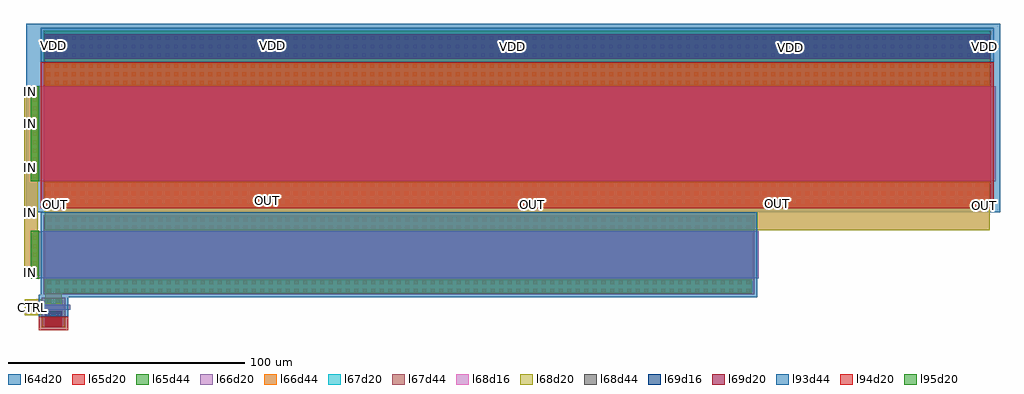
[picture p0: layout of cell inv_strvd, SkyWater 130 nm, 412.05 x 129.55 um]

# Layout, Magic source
magic
tech sky130a
<< l67d44 >>
rect 150 10753 320 10923
rect 150 11113 320 11283
rect 150 11473 320 11643
rect 10230 10753 10400 10923
rect 10590 10753 10760 10923
rect 10950 10753 11120 10923
rect 11310 10753 11480 10923
rect 11670 10753 11840 10923
rect 12030 10753 12200 10923
rect 12390 10753 12560 10923
rect 12750 10753 12920 10923
rect 13110 10753 13280 10923
rect 13470 10753 13640 10923
rect 13830 10753 14000 10923
rect 14190 10753 14360 10923
rect 14550 10753 14720 10923
rect 14910 10753 15080 10923
rect 15270 10753 15440 10923
rect 15630 10753 15800 10923
rect 15990 10753 16160 10923
rect 16350 10753 16520 10923
rect 16710 10753 16880 10923
rect 17070 10753 17240 10923
rect 17430 10753 17600 10923
rect 17790 10753 17960 10923
rect 18150 10753 18320 10923
rect 18510 10753 18680 10923
rect 18870 10753 19040 10923
rect 19230 10753 19400 10923
rect 19590 10753 19760 10923
rect 19950 10753 20120 10923
rect 10230 11113 10400 11283
rect 10590 11113 10760 11283
rect 10950 11113 11120 11283
rect 11310 11113 11480 11283
rect 11670 11113 11840 11283
rect 12030 11113 12200 11283
rect 12390 11113 12560 11283
rect 12750 11113 12920 11283
rect 13110 11113 13280 11283
rect 13470 11113 13640 11283
rect 13830 11113 14000 11283
rect 14190 11113 14360 11283
rect 14550 11113 14720 11283
rect 14910 11113 15080 11283
rect 15270 11113 15440 11283
rect 15630 11113 15800 11283
rect 15990 11113 16160 11283
rect 16350 11113 16520 11283
rect 16710 11113 16880 11283
rect 17070 11113 17240 11283
rect 17430 11113 17600 11283
rect 17790 11113 17960 11283
rect 18150 11113 18320 11283
rect 18510 11113 18680 11283
rect 18870 11113 19040 11283
rect 19230 11113 19400 11283
rect 19590 11113 19760 11283
rect 19950 11113 20120 11283
rect 10230 11473 10400 11643
rect 10590 11473 10760 11643
rect 10950 11473 11120 11643
rect 11310 11473 11480 11643
rect 11670 11473 11840 11643
rect 12030 11473 12200 11643
rect 12390 11473 12560 11643
rect 12750 11473 12920 11643
rect 13110 11473 13280 11643
rect 13470 11473 13640 11643
rect 13830 11473 14000 11643
rect 14190 11473 14360 11643
rect 14550 11473 14720 11643
rect 14910 11473 15080 11643
rect 15270 11473 15440 11643
rect 15630 11473 15800 11643
rect 15990 11473 16160 11643
rect 16350 11473 16520 11643
rect 16710 11473 16880 11643
rect 17070 11473 17240 11643
rect 17430 11473 17600 11643
rect 17790 11473 17960 11643
rect 18150 11473 18320 11643
rect 18510 11473 18680 11643
rect 18870 11473 19040 11643
rect 19230 11473 19400 11643
rect 19590 11473 19760 11643
rect 19950 11473 20120 11643
rect 3390 10753 3560 10923
rect 3750 10753 3920 10923
rect 4110 10753 4280 10923
rect 4470 10753 4640 10923
rect 4830 10753 5000 10923
rect 5190 10753 5360 10923
rect 5550 10753 5720 10923
rect 5910 10753 6080 10923
rect 6270 10753 6440 10923
rect 6630 10753 6800 10923
rect 6990 10753 7160 10923
rect 7350 10753 7520 10923
rect 7710 10753 7880 10923
rect 8070 10753 8240 10923
rect 8430 10753 8600 10923
rect 8790 10753 8960 10923
rect 9150 10753 9320 10923
rect 9510 10753 9680 10923
rect 9870 10753 10040 10923
rect 1230 10753 1400 10923
rect 1590 10753 1760 10923
rect 1950 10753 2120 10923
rect 510 10753 680 10923
rect 510 11113 680 11283
rect 870 11113 1040 11283
rect 870 10753 1040 10923
rect 510 11473 680 11643
rect 870 11473 1040 11643
rect 1230 11473 1400 11643
rect 1590 11473 1760 11643
rect 1950 11473 2120 11643
rect 2310 11473 2480 11643
rect 2670 11473 2840 11643
rect 3030 11473 3200 11643
rect 3390 11473 3560 11643
rect 3750 11473 3920 11643
rect 4110 11473 4280 11643
rect 4470 11473 4640 11643
rect 4830 11473 5000 11643
rect 5190 11473 5360 11643
rect 5550 11473 5720 11643
rect 5910 11473 6080 11643
rect 6270 11473 6440 11643
rect 6630 11473 6800 11643
rect 6990 11473 7160 11643
rect 7350 11473 7520 11643
rect 7710 11473 7880 11643
rect 8070 11473 8240 11643
rect 8430 11473 8600 11643
rect 8790 11473 8960 11643
rect 9150 11473 9320 11643
rect 9510 11473 9680 11643
rect 9870 11473 10040 11643
rect 1230 11113 1400 11283
rect 1590 11113 1760 11283
rect 1950 11113 2120 11283
rect 2310 11113 2480 11283
rect 2670 11113 2840 11283
rect 3030 11113 3200 11283
rect 3390 11113 3560 11283
rect 3750 11113 3920 11283
rect 4110 11113 4280 11283
rect 4470 11113 4640 11283
rect 4830 11113 5000 11283
rect 5190 11113 5360 11283
rect 5550 11113 5720 11283
rect 5910 11113 6080 11283
rect 6270 11113 6440 11283
rect 6630 11113 6800 11283
rect 6990 11113 7160 11283
rect 7350 11113 7520 11283
rect 7710 11113 7880 11283
rect 8070 11113 8240 11283
rect 8430 11113 8600 11283
rect 8790 11113 8960 11283
rect 9150 11113 9320 11283
rect 9510 11113 9680 11283
rect 9870 11113 10040 11283
rect 2310 10753 2480 10923
rect 2670 10753 2840 10923
rect 3030 10753 3200 10923
rect -9570 11113 -9400 11283
rect -9210 11113 -9040 11283
rect -8850 11113 -8680 11283
rect -8490 11113 -8320 11283
rect -8130 11113 -7960 11283
rect -7770 11113 -7600 11283
rect -7410 11113 -7240 11283
rect -7050 11113 -6880 11283
rect -6690 11113 -6520 11283
rect -6330 11113 -6160 11283
rect -5970 11113 -5800 11283
rect -5610 11113 -5440 11283
rect -5250 11113 -5080 11283
rect -4890 11113 -4720 11283
rect -4530 11113 -4360 11283
rect -4170 11113 -4000 11283
rect -3810 11113 -3640 11283
rect -3450 11113 -3280 11283
rect -3090 11113 -2920 11283
rect -2730 11113 -2560 11283
rect -2370 11113 -2200 11283
rect -2010 11113 -1840 11283
rect -1650 11113 -1480 11283
rect -1290 11113 -1120 11283
rect -930 11113 -760 11283
rect -570 11113 -400 11283
rect -210 11113 -40 11283
rect -9570 10753 -9400 10923
rect -9210 10753 -9040 10923
rect -8850 10753 -8680 10923
rect -8490 10753 -8320 10923
rect -8130 10753 -7960 10923
rect -7770 10753 -7600 10923
rect -7410 10753 -7240 10923
rect -7050 10753 -6880 10923
rect -6690 10753 -6520 10923
rect -6330 10753 -6160 10923
rect -5970 10753 -5800 10923
rect -5610 10753 -5440 10923
rect -5250 10753 -5080 10923
rect -4890 10753 -4720 10923
rect -4530 10753 -4360 10923
rect -4170 10753 -4000 10923
rect -3810 10753 -3640 10923
rect -3450 10753 -3280 10923
rect -3090 10753 -2920 10923
rect -2730 10753 -2560 10923
rect -2370 10753 -2200 10923
rect -2010 10753 -1840 10923
rect -1650 10753 -1480 10923
rect -1290 10753 -1120 10923
rect -930 10753 -760 10923
rect -570 10753 -400 10923
rect -210 10753 -40 10923
rect -9570 11473 -9400 11643
rect -9210 11473 -9040 11643
rect -8850 11473 -8680 11643
rect -8490 11473 -8320 11643
rect -8130 11473 -7960 11643
rect -7770 11473 -7600 11643
rect -7410 11473 -7240 11643
rect -7050 11473 -6880 11643
rect -6690 11473 -6520 11643
rect -6330 11473 -6160 11643
rect -5970 11473 -5800 11643
rect -5610 11473 -5440 11643
rect -5250 11473 -5080 11643
rect -4890 11473 -4720 11643
rect -4530 11473 -4360 11643
rect -4170 11473 -4000 11643
rect -3810 11473 -3640 11643
rect -3450 11473 -3280 11643
rect -3090 11473 -2920 11643
rect -2730 11473 -2560 11643
rect -2370 11473 -2200 11643
rect -2010 11473 -1840 11643
rect -1650 11473 -1480 11643
rect -1290 11473 -1120 11643
rect -930 11473 -760 11643
rect -570 11473 -400 11643
rect -210 11473 -40 11643
rect -17850 11113 -17680 11283
rect -17490 11113 -17320 11283
rect -17130 11113 -16960 11283
rect -16770 11113 -16600 11283
rect -16410 11113 -16240 11283
rect -16050 11113 -15880 11283
rect -15690 11113 -15520 11283
rect -15330 11113 -15160 11283
rect -14970 11113 -14800 11283
rect -14610 11113 -14440 11283
rect -14250 11113 -14080 11283
rect -13890 11113 -13720 11283
rect -13530 11113 -13360 11283
rect -13170 11113 -13000 11283
rect -12810 11113 -12640 11283
rect -12450 11113 -12280 11283
rect -12090 11113 -11920 11283
rect -11730 11113 -11560 11283
rect -11370 11113 -11200 11283
rect -11010 11113 -10840 11283
rect -10650 11113 -10480 11283
rect -10290 11113 -10120 11283
rect -9930 11113 -9760 11283
rect -18930 11113 -18760 11283
rect -18930 10753 -18760 10923
rect -19650 10753 -19480 10923
rect -19290 10753 -19120 10923
rect -19290 11113 -19120 11283
rect -19290 11473 -19120 11643
rect -18930 11473 -18760 11643
rect -18570 11473 -18400 11643
rect -18210 11473 -18040 11643
rect -17850 11473 -17680 11643
rect -17490 11473 -17320 11643
rect -17130 11473 -16960 11643
rect -16770 11473 -16600 11643
rect -16410 11473 -16240 11643
rect -16050 11473 -15880 11643
rect -15690 11473 -15520 11643
rect -15330 11473 -15160 11643
rect -14970 11473 -14800 11643
rect -14610 11473 -14440 11643
rect -14250 11473 -14080 11643
rect -13890 11473 -13720 11643
rect -13530 11473 -13360 11643
rect -13170 11473 -13000 11643
rect -12810 11473 -12640 11643
rect -12450 11473 -12280 11643
rect -12090 11473 -11920 11643
rect -11730 11473 -11560 11643
rect -11370 11473 -11200 11643
rect -11010 11473 -10840 11643
rect -10650 11473 -10480 11643
rect -10290 11473 -10120 11643
rect -9930 11473 -9760 11643
rect -18570 10753 -18400 10923
rect -18210 10753 -18040 10923
rect -17850 10753 -17680 10923
rect -17490 10753 -17320 10923
rect -17130 10753 -16960 10923
rect -16770 10753 -16600 10923
rect -16410 10753 -16240 10923
rect -16050 10753 -15880 10923
rect -15690 10753 -15520 10923
rect -15330 10753 -15160 10923
rect -14970 10753 -14800 10923
rect -14610 10753 -14440 10923
rect -14250 10753 -14080 10923
rect -13890 10753 -13720 10923
rect -13530 10753 -13360 10923
rect -13170 10753 -13000 10923
rect -12810 10753 -12640 10923
rect -12450 10753 -12280 10923
rect -12090 10753 -11920 10923
rect -11730 10753 -11560 10923
rect -11370 10753 -11200 10923
rect -11010 10753 -10840 10923
rect -10650 10753 -10480 10923
rect -10290 10753 -10120 10923
rect -9930 10753 -9760 10923
rect -18570 11113 -18400 11283
rect -18210 11113 -18040 11283
rect -19650 11113 -19480 11283
rect -19650 11473 -19480 11643
rect -19250 -525 -19080 -355
rect -19610 -525 -19440 -355
<< l68d20 >>
rect -20245 3270 -20015 5570
rect -19690 -640 -19000 50
rect -19710 3440 20180 5480
rect -20551 -157 -19871 523
rect -20590 1540 -20015 9460
rect -19710 3440 20180 5480
rect -20590 1540 -20015 9460
rect -19690 320 -19000 1370
rect -19710 10500 20180 11688
rect 20180 10753 20200 11688
rect -19730 10753 -19710 11688
<< l68d16 >>
rect -19710 3440 20180 5480
rect -20590 1540 -20015 9460
rect -20496 -102 -19916 463
<< l68d44 >>
rect 160 10763 310 10913
rect 160 11123 310 11273
rect 160 11483 310 11633
rect 12400 11123 12550 11273
rect 12760 11123 12910 11273
rect 13120 11123 13270 11273
rect 17080 11483 17230 11633
rect 13480 11123 13630 11273
rect 17440 11483 17590 11633
rect 13840 11123 13990 11273
rect 17800 11483 17950 11633
rect 14200 11123 14350 11273
rect 18160 11483 18310 11633
rect 14560 11123 14710 11273
rect 18520 11483 18670 11633
rect 14920 11123 15070 11273
rect 18880 11483 19030 11633
rect 15280 11123 15430 11273
rect 19240 11483 19390 11633
rect 15640 11123 15790 11273
rect 19600 11483 19750 11633
rect 16000 11123 16150 11273
rect 19960 11483 20110 11633
rect 16360 11123 16510 11273
rect 10240 10763 10390 10913
rect 16720 11123 16870 11273
rect 10600 10763 10750 10913
rect 17080 11123 17230 11273
rect 10960 10763 11110 10913
rect 17440 11123 17590 11273
rect 11320 10763 11470 10913
rect 17800 11123 17950 11273
rect 11680 10763 11830 10913
rect 18160 11123 18310 11273
rect 12040 10763 12190 10913
rect 18520 11123 18670 11273
rect 12400 10763 12550 10913
rect 18880 11123 19030 11273
rect 12760 10763 12910 10913
rect 19240 11123 19390 11273
rect 13120 10763 13270 10913
rect 19600 11123 19750 11273
rect 13480 10763 13630 10913
rect 19960 11123 20110 11273
rect 13840 10763 13990 10913
rect 10240 11483 10390 11633
rect 14200 10763 14350 10913
rect 10600 11483 10750 11633
rect 14560 10763 14710 10913
rect 10960 11483 11110 11633
rect 14920 10763 15070 10913
rect 11320 11483 11470 11633
rect 15280 10763 15430 10913
rect 11680 11483 11830 11633
rect 15640 10763 15790 10913
rect 12040 11483 12190 11633
rect 16000 10763 16150 10913
rect 12400 11483 12550 11633
rect 12760 11483 12910 11633
rect 16360 10763 16510 10913
rect 13120 11483 13270 11633
rect 16720 10763 16870 10913
rect 17080 10763 17230 10913
rect 13480 11483 13630 11633
rect 17440 10763 17590 10913
rect 17800 10763 17950 10913
rect 13840 11483 13990 11633
rect 18160 10763 18310 10913
rect 18520 10763 18670 10913
rect 14200 11483 14350 11633
rect 18880 10763 19030 10913
rect 19240 10763 19390 10913
rect 14560 11483 14710 11633
rect 19600 10763 19750 10913
rect 19960 10763 20110 10913
rect 14920 11483 15070 11633
rect 15280 11483 15430 11633
rect 15640 11483 15790 11633
rect 16000 11483 16150 11633
rect 16360 11483 16510 11633
rect 16720 11483 16870 11633
rect 10240 11123 10390 11273
rect 10600 11123 10750 11273
rect 10960 11123 11110 11273
rect 11320 11123 11470 11273
rect 11680 11123 11830 11273
rect 12040 11123 12190 11273
rect 2320 11123 2470 11273
rect 2680 11123 2830 11273
rect 3040 11123 3190 11273
rect 3400 11123 3550 11273
rect 3760 11123 3910 11273
rect 4120 11123 4270 11273
rect 4480 11123 4630 11273
rect 4840 11123 4990 11273
rect 5200 11123 5350 11273
rect 1240 11123 1390 11273
rect 1600 11123 1750 11273
rect 1960 11123 2110 11273
rect 9880 10763 10030 10913
rect 9880 11483 10030 11633
rect 880 11483 1030 11633
rect 3040 11483 3190 11633
rect 3400 11483 3550 11633
rect 1240 11483 1390 11633
rect 3760 11483 3910 11633
rect 4120 11483 4270 11633
rect 1600 11483 1750 11633
rect 4480 11483 4630 11633
rect 4840 11483 4990 11633
rect 1960 11483 2110 11633
rect 5200 11483 5350 11633
rect 5560 11483 5710 11633
rect 2320 11483 2470 11633
rect 5920 11483 6070 11633
rect 6280 11483 6430 11633
rect 2680 11483 2830 11633
rect 5920 11123 6070 11273
rect 520 10763 670 10913
rect 880 10763 1030 10913
rect 1240 10763 1390 10913
rect 1600 10763 1750 10913
rect 1960 10763 2110 10913
rect 2320 10763 2470 10913
rect 2680 10763 2830 10913
rect 3040 10763 3190 10913
rect 3400 10763 3550 10913
rect 3760 10763 3910 10913
rect 4120 10763 4270 10913
rect 4480 10763 4630 10913
rect 4840 10763 4990 10913
rect 5200 10763 5350 10913
rect 5560 10763 5710 10913
rect 5920 10763 6070 10913
rect 6280 10763 6430 10913
rect 6640 10763 6790 10913
rect 7000 10763 7150 10913
rect 7360 10763 7510 10913
rect 7720 10763 7870 10913
rect 8080 10763 8230 10913
rect 8440 10763 8590 10913
rect 8800 10763 8950 10913
rect 9160 10763 9310 10913
rect 9520 10763 9670 10913
rect 6280 11123 6430 11273
rect 6640 11483 6790 11633
rect 7000 11483 7150 11633
rect 7360 11483 7510 11633
rect 7720 11483 7870 11633
rect 8080 11483 8230 11633
rect 8440 11483 8590 11633
rect 8800 11483 8950 11633
rect 9160 11483 9310 11633
rect 9520 11483 9670 11633
rect 520 11123 670 11273
rect 9520 11123 9670 11273
rect 880 11123 1030 11273
rect 6640 11123 6790 11273
rect 7000 11123 7150 11273
rect 7360 11123 7510 11273
rect 7720 11123 7870 11273
rect 8080 11123 8230 11273
rect 8440 11123 8590 11273
rect 8800 11123 8950 11273
rect 9160 11123 9310 11273
rect 5560 11123 5710 11273
rect 520 11483 670 11633
rect 9880 11123 10030 11273
rect -200 11123 -50 11273
rect -200 10763 -50 10913
rect -200 11483 -50 11633
rect -7400 11483 -7250 11633
rect -7040 11483 -6890 11633
rect -6680 11483 -6530 11633
rect -6320 11483 -6170 11633
rect -5960 11483 -5810 11633
rect -5600 11483 -5450 11633
rect -5240 11483 -5090 11633
rect -4880 11483 -4730 11633
rect -4520 11483 -4370 11633
rect -4160 11483 -4010 11633
rect -3800 11483 -3650 11633
rect -3440 11483 -3290 11633
rect -3080 11483 -2930 11633
rect -2720 11483 -2570 11633
rect -2360 11483 -2210 11633
rect -2000 11483 -1850 11633
rect -1640 11483 -1490 11633
rect -1280 11483 -1130 11633
rect -920 11483 -770 11633
rect -560 11483 -410 11633
rect -9200 10763 -9050 10913
rect -9560 11123 -9410 11273
rect -9200 11123 -9050 11273
rect -8840 11123 -8690 11273
rect -8480 11123 -8330 11273
rect -8120 11123 -7970 11273
rect -7760 11123 -7610 11273
rect -7400 11123 -7250 11273
rect -7040 11123 -6890 11273
rect -6680 11123 -6530 11273
rect -6320 11123 -6170 11273
rect -5960 11123 -5810 11273
rect -5600 11123 -5450 11273
rect -5240 11123 -5090 11273
rect -4880 11123 -4730 11273
rect -4520 11123 -4370 11273
rect -4160 11123 -4010 11273
rect -3800 11123 -3650 11273
rect -3440 11123 -3290 11273
rect -3080 11123 -2930 11273
rect -2720 11123 -2570 11273
rect -2360 11123 -2210 11273
rect -2000 11123 -1850 11273
rect -1640 11123 -1490 11273
rect -1280 11123 -1130 11273
rect -920 11123 -770 11273
rect -560 11123 -410 11273
rect -8840 10763 -8690 10913
rect -8480 10763 -8330 10913
rect -8120 10763 -7970 10913
rect -7760 10763 -7610 10913
rect -7400 10763 -7250 10913
rect -7040 10763 -6890 10913
rect -6680 10763 -6530 10913
rect -6320 10763 -6170 10913
rect -5960 10763 -5810 10913
rect -5600 10763 -5450 10913
rect -5240 10763 -5090 10913
rect -4880 10763 -4730 10913
rect -4520 10763 -4370 10913
rect -4160 10763 -4010 10913
rect -3800 10763 -3650 10913
rect -3440 10763 -3290 10913
rect -3080 10763 -2930 10913
rect -2720 10763 -2570 10913
rect -2360 10763 -2210 10913
rect -2000 10763 -1850 10913
rect -9560 11483 -9410 11633
rect -1640 10763 -1490 10913
rect -9200 11483 -9050 11633
rect -1280 10763 -1130 10913
rect -8840 11483 -8690 11633
rect -920 10763 -770 10913
rect -8480 11483 -8330 11633
rect -560 10763 -410 10913
rect -8120 11483 -7970 11633
rect -9560 10763 -9410 10913
rect -7760 11483 -7610 11633
rect -10280 10763 -10130 10913
rect -10280 11123 -10130 11273
rect -9920 10763 -9770 10913
rect -9920 11483 -9770 11633
rect -9920 11123 -9770 11273
rect -10280 11483 -10130 11633
rect -18560 11483 -18410 11633
rect -18920 10763 -18770 10913
rect -17120 11123 -16970 11273
rect -13520 11483 -13370 11633
rect -16760 11123 -16610 11273
rect -19280 11123 -19130 11273
rect -10640 10763 -10490 10913
rect -16400 11123 -16250 11273
rect -13160 11483 -13010 11633
rect -18560 10763 -18410 10913
rect -16040 11123 -15890 11273
rect -15320 10763 -15170 10913
rect -18200 11483 -18050 11633
rect -15680 11483 -15530 11633
rect -12800 10763 -12650 10913
rect -15680 11123 -15530 11273
rect -14600 10763 -14450 10913
rect -18200 10763 -18050 10913
rect -12800 11483 -12650 11633
rect -13520 10763 -13370 10913
rect -15320 11123 -15170 11273
rect -11720 10763 -11570 10913
rect -16760 11483 -16610 11633
rect -10640 11123 -10490 11273
rect -18920 11123 -18770 11273
rect -17840 10763 -17690 10913
rect -14960 11123 -14810 11273
rect -19640 11123 -19490 11273
rect -13880 11483 -13730 11633
rect -19640 11483 -19490 11633
rect -12440 11483 -12290 11633
rect -17120 11483 -16970 11633
rect -14600 11123 -14450 11273
rect -18200 11123 -18050 11273
rect -17840 11483 -17690 11633
rect -18560 11123 -18410 11273
rect -14240 11123 -14090 11273
rect -13160 10763 -13010 10913
rect -11000 11483 -10850 11633
rect -12080 11483 -11930 11633
rect -15320 11483 -15170 11633
rect -18920 11483 -18770 11633
rect -16400 11483 -16250 11633
rect -13880 11123 -13730 11273
rect -17480 10763 -17330 10913
rect -17480 11123 -17330 11273
rect -14240 10763 -14090 10913
rect -11360 11123 -11210 11273
rect -19280 11483 -19130 11633
rect -19640 10763 -19490 10913
rect -14960 10763 -14810 10913
rect -13520 11123 -13370 11273
rect -17120 10763 -16970 10913
rect -12080 11123 -11930 11273
rect -11000 10763 -10850 10913
rect -11720 11483 -11570 11633
rect -14960 11483 -14810 11633
rect -12080 10763 -11930 10913
rect -10640 11483 -10490 11633
rect -13160 11123 -13010 11273
rect -16760 10763 -16610 10913
rect -15680 10763 -15530 10913
rect -11720 11123 -11570 11273
rect -17480 11483 -17330 11633
rect -11360 10763 -11210 10913
rect -19280 10763 -19130 10913
rect -13880 10763 -13730 10913
rect -12800 11123 -12650 11273
rect -16400 10763 -16250 10913
rect -12440 10763 -12290 10913
rect -14240 11483 -14090 11633
rect -11360 11483 -11210 11633
rect -14600 11483 -14450 11633
rect -16040 11483 -15890 11633
rect -11000 11123 -10850 11273
rect -12440 11123 -12290 11273
rect -16040 10763 -15890 10913
rect -17840 11123 -17690 11273
rect -19235 -185 -19085 -35
rect -19605 -555 -19455 -405
rect -19235 -555 -19085 -405
rect -19605 -185 -19455 -35
<< l69d20 >>
rect -19690 -640 -19000 50
rect -19725 10678 20195 11718
<< l69d16 >>
rect -19690 -640 -19000 50
rect -19725 10678 20195 11718
<< labels >>
rlabel l68d5 -20211 188 -20211 188 0 CTRL
rlabel l68d5 19980 4475 19980 4475 0 OUT
rlabel l68d5 -19260 4545 -19260 4545 0 OUT
rlabel l68d5 890 4535 890 4535 0 OUT
rlabel l68d5 11225 4570 11225 4570 0 OUT
rlabel l68d5 -10320 4715 -10320 4715 0 OUT
rlabel l68d5 -20310 9300 -20310 9300 0 IN
rlabel l68d5 -20315 1665 -20315 1665 0 IN
rlabel l68d5 -20310 6100 -20310 6100 0 IN
rlabel l68d5 -20310 7935 -20310 7935 0 IN
rlabel l68d5 -20300 4170 -20300 4170 0 IN
rlabel l69d5 -19355 -235 -19355 -235 0 VSS
rlabel l69d5 -19365 11230 -19365 11230 0 VDD
rlabel l69d5 19970 11215 19970 11215 0 VDD
rlabel l69d5 45 11185 45 11185 0 VDD
rlabel l69d5 11760 11145 11760 11145 0 VDD
rlabel l69d5 -10080 11250 -10080 11250 0 VDD
use nfetx2410 nfetx2410_1
transform 0 -1 10235 1 0 745
box -125 -200 3445 30540
use pfetx246 pfetx246_1
transform 0 -1 20235 1 0 4495
box -305 -380 7671 40720
use nfet nfet_1
transform 0 -1 -18845 -1 0 585
box -125 -200 1374 1540
<< end >>

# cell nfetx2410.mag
magic
tech sky130a
<< l66d20 >>
rect 660 -200 2660 30200
rect 660 30200 2660 30530
<< l66d44 >>
rect 65 15275 235 15445
rect 425 15275 595 15445
rect 2725 15275 2895 15445
rect 3085 15275 3255 15445
rect 65 22835 235 23005
rect 425 22835 595 23005
rect 2725 22835 2895 23005
rect 3085 22835 3255 23005
rect 65 24275 235 24445
rect 65 24635 235 24805
rect 65 24995 235 25165
rect 65 25355 235 25525
rect 65 25715 235 25885
rect 65 26075 235 26245
rect 65 26435 235 26605
rect 65 26795 235 26965
rect 65 27155 235 27325
rect 65 27515 235 27685
rect 65 27875 235 28045
rect 65 28235 235 28405
rect 65 28595 235 28765
rect 65 28955 235 29125
rect 65 29315 235 29485
rect 65 29675 235 29845
rect 65 23195 235 23365
rect 425 23195 595 23365
rect 425 23555 595 23725
rect 425 23915 595 24085
rect 425 24275 595 24445
rect 425 24635 595 24805
rect 425 24995 595 25165
rect 425 25355 595 25525
rect 425 25715 595 25885
rect 425 26075 595 26245
rect 425 26435 595 26605
rect 425 26795 595 26965
rect 425 27155 595 27325
rect 425 27515 595 27685
rect 425 27875 595 28045
rect 425 28235 595 28405
rect 425 28595 595 28765
rect 425 28955 595 29125
rect 425 29315 595 29485
rect 425 29675 595 29845
rect 65 23555 235 23725
rect 2725 23195 2895 23365
rect 2725 23555 2895 23725
rect 2725 23915 2895 24085
rect 2725 24275 2895 24445
rect 2725 24635 2895 24805
rect 2725 24995 2895 25165
rect 2725 25355 2895 25525
rect 2725 25715 2895 25885
rect 2725 26075 2895 26245
rect 2725 26435 2895 26605
rect 2725 26795 2895 26965
rect 2725 27155 2895 27325
rect 2725 27515 2895 27685
rect 2725 27875 2895 28045
rect 2725 28235 2895 28405
rect 2725 28595 2895 28765
rect 2725 28955 2895 29125
rect 2725 29315 2895 29485
rect 2725 29675 2895 29845
rect 65 23915 235 24085
rect 3085 23195 3255 23365
rect 3085 23555 3255 23725
rect 3085 23915 3255 24085
rect 3085 24275 3255 24445
rect 3085 24635 3255 24805
rect 3085 24995 3255 25165
rect 3085 25355 3255 25525
rect 3085 25715 3255 25885
rect 3085 26075 3255 26245
rect 3085 26435 3255 26605
rect 3085 26795 3255 26965
rect 3085 27155 3255 27325
rect 3085 27515 3255 27685
rect 3085 27875 3255 28045
rect 3085 28235 3255 28405
rect 3085 28595 3255 28765
rect 3085 28955 3255 29125
rect 3085 29315 3255 29485
rect 3085 29675 3255 29845
rect 855 30280 1025 30450
rect 1215 30280 1385 30450
rect 1575 30280 1745 30450
rect 1935 30280 2105 30450
rect 2295 30280 2465 30450
rect 2725 17795 2895 17965
rect 2725 18155 2895 18325
rect 2725 18515 2895 18685
rect 2725 18875 2895 19045
rect 2725 19235 2895 19405
rect 2725 19595 2895 19765
rect 2725 19955 2895 20125
rect 2725 20315 2895 20485
rect 2725 20675 2895 20845
rect 2725 21035 2895 21205
rect 2725 21395 2895 21565
rect 2725 21755 2895 21925
rect 2725 22115 2895 22285
rect 2725 22475 2895 22645
rect 425 16355 595 16525
rect 425 16715 595 16885
rect 425 17075 595 17245
rect 425 17435 595 17605
rect 425 17795 595 17965
rect 425 18155 595 18325
rect 425 18515 595 18685
rect 425 18875 595 19045
rect 425 19235 595 19405
rect 425 19595 595 19765
rect 425 19955 595 20125
rect 425 20315 595 20485
rect 425 20675 595 20845
rect 425 21035 595 21205
rect 425 21395 595 21565
rect 425 21755 595 21925
rect 425 22115 595 22285
rect 425 22475 595 22645
rect 65 17795 235 17965
rect 65 18155 235 18325
rect 65 16355 235 16525
rect 3085 15635 3255 15805
rect 3085 15995 3255 16165
rect 3085 16355 3255 16525
rect 3085 16715 3255 16885
rect 3085 17075 3255 17245
rect 3085 17435 3255 17605
rect 3085 17795 3255 17965
rect 3085 18155 3255 18325
rect 3085 18515 3255 18685
rect 3085 18875 3255 19045
rect 3085 19235 3255 19405
rect 3085 19595 3255 19765
rect 3085 19955 3255 20125
rect 3085 20315 3255 20485
rect 3085 20675 3255 20845
rect 3085 21035 3255 21205
rect 3085 21395 3255 21565
rect 3085 21755 3255 21925
rect 3085 22115 3255 22285
rect 3085 22475 3255 22645
rect 65 18515 235 18685
rect 65 18875 235 19045
rect 65 19235 235 19405
rect 65 19595 235 19765
rect 65 19955 235 20125
rect 65 20315 235 20485
rect 65 20675 235 20845
rect 65 21035 235 21205
rect 65 21395 235 21565
rect 65 21755 235 21925
rect 65 22115 235 22285
rect 65 22475 235 22645
rect 65 16715 235 16885
rect 65 17075 235 17245
rect 65 17435 235 17605
rect 65 15635 235 15805
rect 425 15635 595 15805
rect 425 15995 595 16165
rect 65 15995 235 16165
rect 2725 15635 2895 15805
rect 2725 15995 2895 16165
rect 2725 16355 2895 16525
rect 2725 16715 2895 16885
rect 2725 17075 2895 17245
rect 2725 17435 2895 17605
rect 2725 7715 2895 7885
rect 425 7715 595 7885
rect 3085 7715 3255 7885
rect 65 7715 235 7885
rect 2725 9155 2895 9325
rect 2725 9515 2895 9685
rect 2725 9875 2895 10045
rect 2725 10235 2895 10405
rect 2725 10595 2895 10765
rect 2725 10955 2895 11125
rect 2725 11315 2895 11485
rect 2725 11675 2895 11845
rect 2725 12035 2895 12205
rect 2725 12395 2895 12565
rect 2725 12755 2895 12925
rect 2725 13115 2895 13285
rect 2725 13475 2895 13645
rect 2725 13835 2895 14005
rect 2725 14195 2895 14365
rect 2725 14555 2895 14725
rect 2725 14915 2895 15085
rect 65 14555 235 14725
rect 2725 8075 2895 8245
rect 425 8075 595 8245
rect 425 8435 595 8605
rect 425 8795 595 8965
rect 425 9155 595 9325
rect 425 9515 595 9685
rect 425 9875 595 10045
rect 425 10235 595 10405
rect 425 10595 595 10765
rect 425 10955 595 11125
rect 425 11315 595 11485
rect 425 11675 595 11845
rect 425 12035 595 12205
rect 425 12395 595 12565
rect 425 12755 595 12925
rect 425 13115 595 13285
rect 425 13475 595 13645
rect 425 13835 595 14005
rect 425 14195 595 14365
rect 2725 8435 2895 8605
rect 3085 8075 3255 8245
rect 3085 8435 3255 8605
rect 3085 8795 3255 8965
rect 3085 9155 3255 9325
rect 3085 9515 3255 9685
rect 3085 9875 3255 10045
rect 3085 10235 3255 10405
rect 3085 10595 3255 10765
rect 3085 10955 3255 11125
rect 3085 11315 3255 11485
rect 3085 11675 3255 11845
rect 3085 12035 3255 12205
rect 3085 12395 3255 12565
rect 3085 12755 3255 12925
rect 3085 13115 3255 13285
rect 3085 13475 3255 13645
rect 3085 13835 3255 14005
rect 3085 14195 3255 14365
rect 3085 14555 3255 14725
rect 3085 14915 3255 15085
rect 425 14555 595 14725
rect 425 14915 595 15085
rect 65 14915 235 15085
rect 2725 8795 2895 8965
rect 65 8075 235 8245
rect 65 8435 235 8605
rect 65 8795 235 8965
rect 65 9155 235 9325
rect 65 9515 235 9685
rect 65 9875 235 10045
rect 65 10235 235 10405
rect 65 10595 235 10765
rect 65 10955 235 11125
rect 65 11315 235 11485
rect 65 11675 235 11845
rect 65 12035 235 12205
rect 65 12395 235 12565
rect 65 12755 235 12925
rect 65 13115 235 13285
rect 65 13475 235 13645
rect 65 13835 235 14005
rect 65 14195 235 14365
rect 3085 1595 3255 1765
rect 3085 1955 3255 2125
rect 3085 2315 3255 2485
rect 3085 2675 3255 2845
rect 3085 3035 3255 3205
rect 3085 3395 3255 3565
rect 3085 3755 3255 3925
rect 3085 4115 3255 4285
rect 3085 4475 3255 4645
rect 3085 4835 3255 5005
rect 3085 5195 3255 5365
rect 3085 5555 3255 5725
rect 3085 5915 3255 6085
rect 3085 6275 3255 6445
rect 3085 6635 3255 6805
rect 3085 6995 3255 7165
rect 3085 7355 3255 7525
rect 425 515 595 685
rect 425 875 595 1045
rect 425 1235 595 1405
rect 425 1595 595 1765
rect 425 1955 595 2125
rect 425 2315 595 2485
rect 425 2675 595 2845
rect 425 3035 595 3205
rect 425 3395 595 3565
rect 425 3755 595 3925
rect 425 4115 595 4285
rect 425 4475 595 4645
rect 425 4835 595 5005
rect 425 5195 595 5365
rect 425 5555 595 5725
rect 425 5915 595 6085
rect 425 6275 595 6445
rect 425 6635 595 6805
rect 425 6995 595 7165
rect 425 7355 595 7525
rect 2725 2675 2895 2845
rect 2725 3035 2895 3205
rect 2725 3395 2895 3565
rect 2725 3755 2895 3925
rect 65 155 235 325
rect 65 515 235 685
rect 65 875 235 1045
rect 65 1235 235 1405
rect 65 1595 235 1765
rect 65 1955 235 2125
rect 65 2315 235 2485
rect 65 2675 235 2845
rect 65 3035 235 3205
rect 65 3395 235 3565
rect 65 3755 235 3925
rect 65 4115 235 4285
rect 65 4475 235 4645
rect 65 4835 235 5005
rect 65 5195 235 5365
rect 65 5555 235 5725
rect 65 5915 235 6085
rect 65 6275 235 6445
rect 65 6635 235 6805
rect 65 6995 235 7165
rect 65 7355 235 7525
rect 2725 4115 2895 4285
rect 2725 4475 2895 4645
rect 2725 4835 2895 5005
rect 2725 5195 2895 5365
rect 2725 5555 2895 5725
rect 2725 5915 2895 6085
rect 2725 6275 2895 6445
rect 2725 6635 2895 6805
rect 2725 6995 2895 7165
rect 2725 7355 2895 7525
rect 2725 1235 2895 1405
rect 2725 1595 2895 1765
rect 2725 1955 2895 2125
rect 2725 2315 2895 2485
rect 425 155 595 325
rect 3085 155 3255 325
rect 3085 515 3255 685
rect 3085 875 3255 1045
rect 3085 1235 3255 1405
rect 2725 155 2895 325
rect 2725 515 2895 685
rect 2725 875 2895 1045
<< l67d44 >>
rect 65 15275 235 15445
rect 425 15275 595 15445
rect 2725 15275 2895 15445
rect 3085 15275 3255 15445
rect 65 22835 235 23005
rect 425 22835 595 23005
rect 2725 22835 2895 23005
rect 3085 22835 3255 23005
rect 65 24275 235 24445
rect 65 24635 235 24805
rect 65 24995 235 25165
rect 65 25355 235 25525
rect 65 25715 235 25885
rect 65 26075 235 26245
rect 65 26435 235 26605
rect 65 26795 235 26965
rect 65 27155 235 27325
rect 65 27515 235 27685
rect 65 27875 235 28045
rect 65 28235 235 28405
rect 65 28595 235 28765
rect 65 28955 235 29125
rect 65 29315 235 29485
rect 65 29675 235 29845
rect 65 23195 235 23365
rect 425 23195 595 23365
rect 425 23555 595 23725
rect 425 23915 595 24085
rect 425 24275 595 24445
rect 425 24635 595 24805
rect 425 24995 595 25165
rect 425 25355 595 25525
rect 425 25715 595 25885
rect 425 26075 595 26245
rect 425 26435 595 26605
rect 425 26795 595 26965
rect 425 27155 595 27325
rect 425 27515 595 27685
rect 425 27875 595 28045
rect 425 28235 595 28405
rect 425 28595 595 28765
rect 425 28955 595 29125
rect 425 29315 595 29485
rect 425 29675 595 29845
rect 65 23555 235 23725
rect 2725 23195 2895 23365
rect 2725 23555 2895 23725
rect 2725 23915 2895 24085
rect 2725 24275 2895 24445
rect 2725 24635 2895 24805
rect 2725 24995 2895 25165
rect 2725 25355 2895 25525
rect 2725 25715 2895 25885
rect 2725 26075 2895 26245
rect 2725 26435 2895 26605
rect 2725 26795 2895 26965
rect 2725 27155 2895 27325
rect 2725 27515 2895 27685
rect 2725 27875 2895 28045
rect 2725 28235 2895 28405
rect 2725 28595 2895 28765
rect 2725 28955 2895 29125
rect 2725 29315 2895 29485
rect 2725 29675 2895 29845
rect 65 23915 235 24085
rect 3085 23195 3255 23365
rect 3085 23555 3255 23725
rect 3085 23915 3255 24085
rect 3085 24275 3255 24445
rect 3085 24635 3255 24805
rect 3085 24995 3255 25165
rect 3085 25355 3255 25525
rect 3085 25715 3255 25885
rect 3085 26075 3255 26245
rect 3085 26435 3255 26605
rect 3085 26795 3255 26965
rect 3085 27155 3255 27325
rect 3085 27515 3255 27685
rect 3085 27875 3255 28045
rect 3085 28235 3255 28405
rect 3085 28595 3255 28765
rect 3085 28955 3255 29125
rect 3085 29315 3255 29485
rect 3085 29675 3255 29845
rect 855 30280 1025 30450
rect 1215 30280 1385 30450
rect 1575 30280 1745 30450
rect 1935 30280 2105 30450
rect 2295 30280 2465 30450
rect 2725 17795 2895 17965
rect 2725 18155 2895 18325
rect 2725 18515 2895 18685
rect 2725 18875 2895 19045
rect 2725 19235 2895 19405
rect 2725 19595 2895 19765
rect 2725 19955 2895 20125
rect 2725 20315 2895 20485
rect 2725 20675 2895 20845
rect 2725 21035 2895 21205
rect 2725 21395 2895 21565
rect 2725 21755 2895 21925
rect 2725 22115 2895 22285
rect 2725 22475 2895 22645
rect 425 16355 595 16525
rect 425 16715 595 16885
rect 425 17075 595 17245
rect 425 17435 595 17605
rect 425 17795 595 17965
rect 425 18155 595 18325
rect 425 18515 595 18685
rect 425 18875 595 19045
rect 425 19235 595 19405
rect 425 19595 595 19765
rect 425 19955 595 20125
rect 425 20315 595 20485
rect 425 20675 595 20845
rect 425 21035 595 21205
rect 425 21395 595 21565
rect 425 21755 595 21925
rect 425 22115 595 22285
rect 425 22475 595 22645
rect 65 17795 235 17965
rect 65 18155 235 18325
rect 65 16355 235 16525
rect 3085 15635 3255 15805
rect 3085 15995 3255 16165
rect 3085 16355 3255 16525
rect 3085 16715 3255 16885
rect 3085 17075 3255 17245
rect 3085 17435 3255 17605
rect 3085 17795 3255 17965
rect 3085 18155 3255 18325
rect 3085 18515 3255 18685
rect 3085 18875 3255 19045
rect 3085 19235 3255 19405
rect 3085 19595 3255 19765
rect 3085 19955 3255 20125
rect 3085 20315 3255 20485
rect 3085 20675 3255 20845
rect 3085 21035 3255 21205
rect 3085 21395 3255 21565
rect 3085 21755 3255 21925
rect 3085 22115 3255 22285
rect 3085 22475 3255 22645
rect 65 18515 235 18685
rect 65 18875 235 19045
rect 65 19235 235 19405
rect 65 19595 235 19765
rect 65 19955 235 20125
rect 65 20315 235 20485
rect 65 20675 235 20845
rect 65 21035 235 21205
rect 65 21395 235 21565
rect 65 21755 235 21925
rect 65 22115 235 22285
rect 65 22475 235 22645
rect 65 16715 235 16885
rect 65 17075 235 17245
rect 65 17435 235 17605
rect 65 15635 235 15805
rect 425 15635 595 15805
rect 425 15995 595 16165
rect 65 15995 235 16165
rect 2725 15635 2895 15805
rect 2725 15995 2895 16165
rect 2725 16355 2895 16525
rect 2725 16715 2895 16885
rect 2725 17075 2895 17245
rect 2725 17435 2895 17605
rect 2725 7715 2895 7885
rect 425 7715 595 7885
rect 3085 7715 3255 7885
rect 65 7715 235 7885
rect 2725 9155 2895 9325
rect 2725 9515 2895 9685
rect 2725 9875 2895 10045
rect 2725 10235 2895 10405
rect 2725 10595 2895 10765
rect 2725 10955 2895 11125
rect 2725 11315 2895 11485
rect 2725 11675 2895 11845
rect 2725 12035 2895 12205
rect 2725 12395 2895 12565
rect 2725 12755 2895 12925
rect 2725 13115 2895 13285
rect 2725 13475 2895 13645
rect 2725 13835 2895 14005
rect 2725 14195 2895 14365
rect 2725 14555 2895 14725
rect 2725 14915 2895 15085
rect 65 14555 235 14725
rect 2725 8075 2895 8245
rect 425 8075 595 8245
rect 425 8435 595 8605
rect 425 8795 595 8965
rect 425 9155 595 9325
rect 425 9515 595 9685
rect 425 9875 595 10045
rect 425 10235 595 10405
rect 425 10595 595 10765
rect 425 10955 595 11125
rect 425 11315 595 11485
rect 425 11675 595 11845
rect 425 12035 595 12205
rect 425 12395 595 12565
rect 425 12755 595 12925
rect 425 13115 595 13285
rect 425 13475 595 13645
rect 425 13835 595 14005
rect 425 14195 595 14365
rect 2725 8435 2895 8605
rect 3085 8075 3255 8245
rect 3085 8435 3255 8605
rect 3085 8795 3255 8965
rect 3085 9155 3255 9325
rect 3085 9515 3255 9685
rect 3085 9875 3255 10045
rect 3085 10235 3255 10405
rect 3085 10595 3255 10765
rect 3085 10955 3255 11125
rect 3085 11315 3255 11485
rect 3085 11675 3255 11845
rect 3085 12035 3255 12205
rect 3085 12395 3255 12565
rect 3085 12755 3255 12925
rect 3085 13115 3255 13285
rect 3085 13475 3255 13645
rect 3085 13835 3255 14005
rect 3085 14195 3255 14365
rect 3085 14555 3255 14725
rect 3085 14915 3255 15085
rect 425 14555 595 14725
rect 425 14915 595 15085
rect 65 14915 235 15085
rect 2725 8795 2895 8965
rect 65 8075 235 8245
rect 65 8435 235 8605
rect 65 8795 235 8965
rect 65 9155 235 9325
rect 65 9515 235 9685
rect 65 9875 235 10045
rect 65 10235 235 10405
rect 65 10595 235 10765
rect 65 10955 235 11125
rect 65 11315 235 11485
rect 65 11675 235 11845
rect 65 12035 235 12205
rect 65 12395 235 12565
rect 65 12755 235 12925
rect 65 13115 235 13285
rect 65 13475 235 13645
rect 65 13835 235 14005
rect 65 14195 235 14365
rect 3085 1595 3255 1765
rect 3085 1955 3255 2125
rect 3085 2315 3255 2485
rect 3085 2675 3255 2845
rect 3085 3035 3255 3205
rect 3085 3395 3255 3565
rect 3085 3755 3255 3925
rect 3085 4115 3255 4285
rect 3085 4475 3255 4645
rect 3085 4835 3255 5005
rect 3085 5195 3255 5365
rect 3085 5555 3255 5725
rect 3085 5915 3255 6085
rect 3085 6275 3255 6445
rect 3085 6635 3255 6805
rect 3085 6995 3255 7165
rect 3085 7355 3255 7525
rect 425 515 595 685
rect 425 875 595 1045
rect 425 1235 595 1405
rect 425 1595 595 1765
rect 425 1955 595 2125
rect 425 2315 595 2485
rect 425 2675 595 2845
rect 425 3035 595 3205
rect 425 3395 595 3565
rect 425 3755 595 3925
rect 425 4115 595 4285
rect 425 4475 595 4645
rect 425 4835 595 5005
rect 425 5195 595 5365
rect 425 5555 595 5725
rect 425 5915 595 6085
rect 425 6275 595 6445
rect 425 6635 595 6805
rect 425 6995 595 7165
rect 425 7355 595 7525
rect 2725 2675 2895 2845
rect 2725 3035 2895 3205
rect 2725 3395 2895 3565
rect 2725 3755 2895 3925
rect 65 155 235 325
rect 65 515 235 685
rect 65 875 235 1045
rect 65 1235 235 1405
rect 65 1595 235 1765
rect 65 1955 235 2125
rect 65 2315 235 2485
rect 65 2675 235 2845
rect 65 3035 235 3205
rect 65 3395 235 3565
rect 65 3755 235 3925
rect 65 4115 235 4285
rect 65 4475 235 4645
rect 65 4835 235 5005
rect 65 5195 235 5365
rect 65 5555 235 5725
rect 65 5915 235 6085
rect 65 6275 235 6445
rect 65 6635 235 6805
rect 65 6995 235 7165
rect 65 7355 235 7525
rect 2725 4115 2895 4285
rect 2725 4475 2895 4645
rect 2725 4835 2895 5005
rect 2725 5195 2895 5365
rect 2725 5555 2895 5725
rect 2725 5915 2895 6085
rect 2725 6275 2895 6445
rect 2725 6635 2895 6805
rect 2725 6995 2895 7165
rect 2725 7355 2895 7525
rect 2725 1235 2895 1405
rect 2725 1595 2895 1765
rect 2725 1955 2895 2125
rect 2725 2315 2895 2485
rect 425 155 595 325
rect 3085 155 3255 325
rect 3085 515 3255 685
rect 3085 875 3255 1045
rect 3085 1235 3255 1405
rect 2725 155 2895 325
rect 2725 515 2895 685
rect 2725 875 2895 1045
<< l95d20 >>
rect 650 30190 2670 30540
<< l67d20 >>
rect 65 75 595 29925
rect 2725 75 3255 29925
rect 775 30280 2545 30450
<< l68d20 >>
rect 35 95 625 29905
rect 2695 95 3285 29905
rect 795 30250 2525 30480
<< l65d20 >>
rect 0 0 3320 30000
<< l93d44 >>
rect -125 -125 3445 30125
<< end >>

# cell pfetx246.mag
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
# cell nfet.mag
magic
tech sky130a
<< l66d20 >>
rect 300 -200 500 1200
rect 265 1200 535 1530
<< l94d20 >>
rect 800 -125 1374 1125
<< l66d44 >>
rect 65 235 235 405
rect 65 595 235 765
rect 565 235 735 405
rect 565 595 735 765
rect 315 1280 485 1450
rect 940 235 1110 405
rect 940 595 1110 765
<< l67d44 >>
rect 65 235 235 405
rect 65 595 235 765
rect 565 235 735 405
rect 565 595 735 765
rect 315 1280 485 1450
<< l95d20 >>
rect 255 1190 545 1540
<< l67d20 >>
rect 65 155 235 845
rect 565 155 735 845
rect 235 1280 565 1450
rect 940 155 1110 845
<< l68d20 >>
rect 35 175 265 825
rect 535 175 765 825
rect 217 1250 583 1480
<< l65d20 >>
rect 0 0 800 1000
<< l93d44 >>
rect -125 -125 799 1125
<< l65d44 >>
rect 800 0 1250 1000
<< end >>
